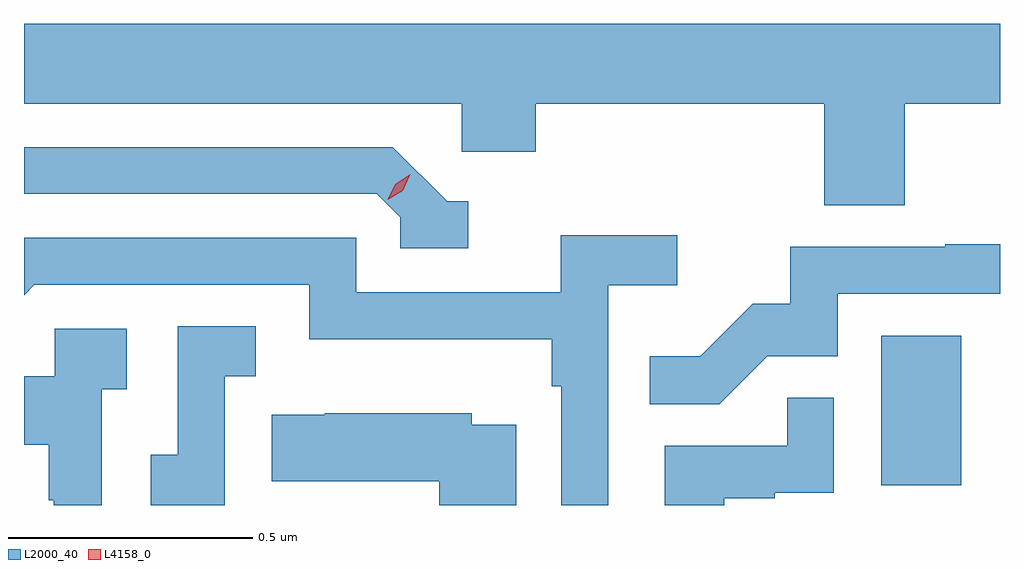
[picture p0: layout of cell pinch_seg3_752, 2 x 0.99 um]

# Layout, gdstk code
import gdstk
lib = gdstk.Library(unit=1e-6, precision=1e-09)
def R(c, l, rs):  # rectangles x0, y0, x1, y1
    for r in rs: c.add(gdstk.rectangle(r[:2], r[2:], *l))
def P(c, l, *ps):  # polygons
    for p in ps: c.add(gdstk.Polygon(p, *l))
L2000_40 = (2000, 40)
L4158_0 = (4158, 0)

pinch_seg3_752 = lib.new_cell('pinch_seg3_752')
R(pinch_seg3_752, L2000_40, [(858.224,742.758,858.388,743.065)])
P(pinch_seg3_752, L2000_40, [(858.272,743.54),(858.467,743.54),(858.467,743.704),(856.467,743.704),(856.467,743.54),(857.364,743.54),(857.364,743.442),(857.516,743.442),(857.516,743.54),(858.107,743.54),(858.107,743.332),(858.272,743.332)],
  [(857.377,743.34),(857.334,743.34),(857.223,743.451),(856.467,743.451),(856.467,743.355),(857.19,743.355),(857.238,743.307),(857.238,743.244),(857.377,743.244)],
  [(857.664,743.168),(857.806,743.168),(857.806,743.27),(857.567,743.27),(857.567,743.154),(857.148,743.154),(857.148,743.265),(856.467,743.265),(856.467,743.148),(856.488,743.169),(857.052,743.169),(857.052,743.057),(857.548,743.057),(857.548,742.961),(857.568,742.961),(857.568,742.717),(857.664,742.717)],
  [(857.99,743.022),(858.135,743.022),(858.135,743.151),(858.467,743.151),(858.467,743.252),(858.355,743.252),(858.355,743.247),(858.037,743.247),(858.037,743.13),(857.96,743.13),(857.853,743.023),(857.749,743.023),(857.749,742.924),(857.892,742.924)],
  [(856.878,742.981),(856.942,742.981),(856.942,743.084),(856.782,743.084),(856.782,742.821),(856.727,742.821),(856.727,742.717),(856.878,742.717)],
  [(856.626,742.955),(856.678,742.955),(856.678,743.079),(856.53,743.079),(856.53,742.981),(856.467,742.981),(856.467,742.841),(856.518,742.841),(856.518,742.727),(856.528,742.727),(856.528,742.717),(856.626,742.717)],
  [(857.902,742.731),(858.005,742.731),(858.005,742.743),(858.126,742.743),(858.126,742.937),(858.031,742.937),(858.031,742.839),(857.78,742.839),(857.78,742.717),(857.902,742.717)],
  [(857.476,742.882),(857.385,742.882),(857.385,742.906),(857.083,742.906),(857.083,742.903),(856.975,742.903),(856.975,742.766),(857.318,742.766),(857.318,742.717),(857.476,742.717)])
P(pinch_seg3_752, L4158_0, [(857.212,743.343),(857.212,743.343),(857.228,743.375),(857.259,743.395),(857.259,743.395),(857.259,743.395),(857.243,743.362),(857.212,743.343)])

lib.write_gds('pinch_seg3_752.gds')
